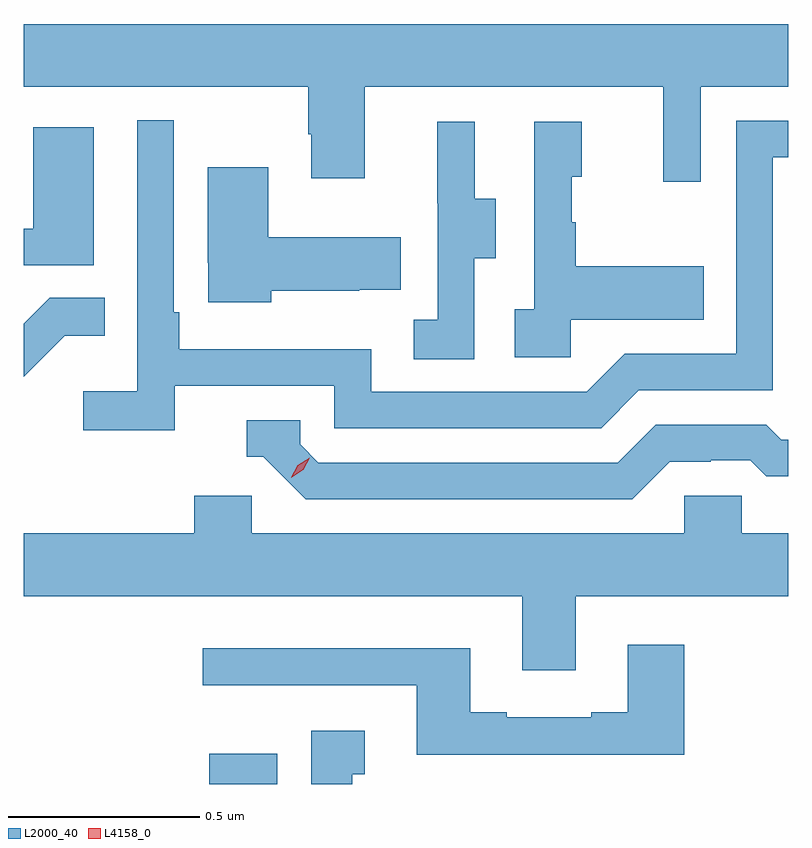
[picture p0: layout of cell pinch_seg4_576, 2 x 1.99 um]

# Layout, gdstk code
import gdstk
lib = gdstk.Library(unit=1e-6, precision=1e-09)
def R(c, l, rs):  # rectangles x0, y0, x1, y1
    for r in rs: c.add(gdstk.rectangle(r[:2], r[2:], *l))
def P(c, l, *ps):  # polygons
    for p in ps: c.add(gdstk.Polygon(p, *l))
L2000_40 = (2000, 40)
L4158_0 = (4158, 0)

pinch_seg4_576 = lib.new_cell('pinch_seg4_576')
R(pinch_seg4_576, L2000_40, [(1086.422,775.017,1086.601,775.096)])
P(pinch_seg4_576, L2000_40, [(1087.707,776.84),(1087.937,776.84),(1087.937,777.004),(1085.937,777.004),(1085.937,776.84),(1086.682,776.84),(1086.682,776.716),(1086.689,776.716),(1086.689,776.601),(1086.829,776.601),(1086.829,776.84),(1087.61,776.84),(1087.61,776.592),(1087.707,776.592)],
  [(1086.332,776.058),(1086.75,776.058),(1086.75,775.947),(1087.447,775.947),(1087.546,776.046),(1087.896,776.046),(1087.896,776.655),(1087.937,776.655),(1087.937,776.751),(1087.8,776.751),(1087.8,776.142),(1087.509,776.142),(1087.41,776.043),(1086.846,776.043),(1086.846,776.154),(1086.344,776.154),(1086.344,776.251),(1086.33,776.251),(1086.33,776.752),(1086.234,776.752),(1086.234,776.044),(1086.093,776.044),(1086.093,775.942),(1086.332,775.942)],
  [(1087.116,776.392),(1087.171,776.392),(1087.171,776.547),(1087.117,776.547),(1087.117,776.749),(1087.019,776.749),(1087.019,776.535),(1087.02,776.535),(1087.02,776.231),(1086.957,776.231),(1086.957,776.128),(1087.116,776.128)],
  [(1087.368,776.231),(1087.715,776.231),(1087.715,776.371),(1087.381,776.371),(1087.381,776.486),(1087.371,776.486),(1087.371,776.604),(1087.396,776.604),(1087.396,776.749),(1087.272,776.749),(1087.272,776.258),(1087.221,776.258),(1087.221,776.133),(1087.368,776.133)],
  [(1086.121,776.734),(1085.963,776.734),(1085.963,776.469),(1085.937,776.469),(1085.937,776.373),(1086.121,776.373)],
  [(1086.585,776.306),(1086.815,776.306),(1086.815,776.309),(1086.923,776.309),(1086.923,776.446),(1086.577,776.446),(1086.577,776.629),(1086.419,776.629),(1086.419,776.38),(1086.42,776.38),(1086.42,776.277),(1086.585,776.277)],
  [(1086.045,776.189),(1086.149,776.189),(1086.149,776.288),(1086.005,776.288),(1085.937,776.22),(1085.937,776.082),(1085.938,776.082)],
  [(1087.627,775.86),(1087.734,775.86),(1087.734,775.863),(1087.837,775.863),(1087.879,775.821),(1087.937,775.821),(1087.937,775.917),(1087.918,775.917),(1087.879,775.956),(1087.59,775.956),(1087.491,775.857),(1086.708,775.857),(1086.66,775.905),(1086.66,775.968),(1086.521,775.968),(1086.521,775.872),(1086.564,775.872),(1086.675,775.761),(1087.528,775.761)],
  [(1087.381,775.508),(1087.937,775.508),(1087.937,775.672),(1087.815,775.672),(1087.815,775.77),(1087.665,775.77),(1087.665,775.672),(1086.534,775.672),(1086.534,775.77),(1086.383,775.77),(1086.383,775.672),(1085.937,775.672),(1085.937,775.508),(1087.241,775.508),(1087.241,775.314),(1087.381,775.314)],
  [(1087.665,775.381),(1087.517,775.381),(1087.517,775.204),(1087.421,775.204),(1087.421,775.191),(1087.201,775.191),(1087.201,775.204),(1087.105,775.204),(1087.105,775.372),(1086.405,775.372),(1086.405,775.275),(1086.965,775.275),(1086.965,775.094),(1087.665,775.094)],
  [(1086.796,775.043),(1086.829,775.043),(1086.829,775.156),(1086.689,775.156),(1086.689,775.017),(1086.796,775.017)])
P(pinch_seg4_576, L4158_0, [(1086.637,775.818),(1086.637,775.819),(1086.654,775.851),(1086.685,775.87),(1086.685,775.87),(1086.685,775.87),(1086.668,775.838),(1086.637,775.818)])

lib.write_gds('pinch_seg4_576.gds')
